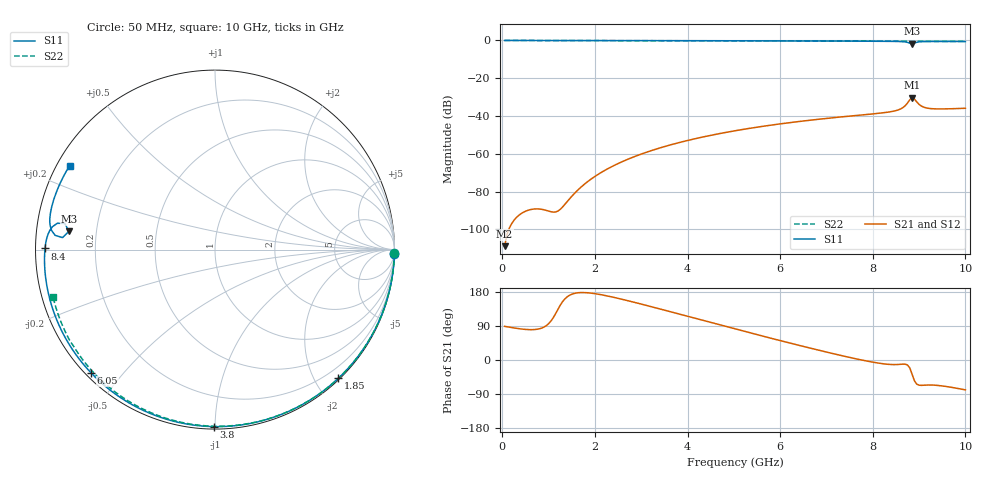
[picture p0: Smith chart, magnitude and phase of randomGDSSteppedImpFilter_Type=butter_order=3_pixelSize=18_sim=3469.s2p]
! freq	dB(S11)	phase(S11)	dB(S12)	phase(S12)
!  dB(S21)	phase(S21)	dB(S22)	phase(S22)
!S-par simulation data
#  GHz  S  DB  R 50
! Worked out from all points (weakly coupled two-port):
!   200 points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, 50 MHz to 10 GHz, reference 50 ohm
!   highest |S21| = -30.29 dB at 8.85 GHz (marker M1); lowest = -108.9 dB at 50 MHz (marker M2)
!   lowest |S11| = -1.7 dB at 8.85 GHz (marker M3), VSWR 10.09, Z = 4.97 + j3.1 ohm
!   |S11| at or under -10 dB: nowhere
!   |S22| runs from -0.5 to 0.0 dB; largest |S21 - S12| = 0
!   S11 on the Smith chart (normalised r, x): 50 MHz: 0, -89; 1.85 GHz: 0.02, -2.34; 3.8 GHz: 0.01, -0.99; 6.05 GHz: 0.02, -0.41; 8.4 GHz: 0.03, +0.00; 10 GHz: 0.04, +0.27
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0.05  -0.00 -1.3  -108.92 88.9  -108.92 88.9  -0.00 -0.9
0.8  -0.03 -20.3  -89.24 82.3  -89.24 82.3  -0.02 -15.2
1.6  -0.05 -40.1  -79.94 176.8  -79.94 176.8  -0.04 -30.2
1.75  -0.06 -43.8  -76.57 178.0  -76.57 178.0  -0.04 -33.0
1.85  -0.06 -46.2  -74.61 177.3  -74.61 177.3  -0.04 -34.8
2.15  -0.07 -53.3  -69.68 171.9  -69.68 171.9  -0.05 -40.3
2.5  -0.08 -61.5  -65.18 162.7  -65.18 162.7  -0.06 -46.6
3.4  -0.11 -81.7  -56.92 134.8  -56.92 134.8  -0.08 -62.4
3.8  -0.12 -90.3  -54.18 121.8  -54.18 121.8  -0.09 -69.2
5.05  -0.17 -115.8  -47.71 81.3  -47.71 81.3  -0.14 -89.7
6.05  -0.23 -135.2  -44.01 49.7  -44.01 49.7  -0.19 -105.3
6.7  -0.27 -147.4  -42.07 29.8  -42.07 29.8  -0.22 -115.1
7.55  -0.35 -163.5  -39.94 5.4  -39.94 5.4  -0.29 -127.7
8.35  -0.46 -179.3  -37.88 -11.6  -37.88 -11.6  -0.36 -139.4
8.4  -0.47 179.6  -37.68 -11.9  -37.68 -11.9  -0.36 -140.1
8.65  -0.66 173.4  -35.56 -10.9  -35.56 -10.9  -0.39 -143.8
8.8  -1.41 170.1  -31.37 -21.1  -31.37 -21.1  -0.41 -145.9
8.85  -1.73 172.8  -30.29 -37.6  -30.29 -37.6  -0.40 -146.6
8.95  -0.97 174.9  -32.56 -63.7  -32.56 -63.7  -0.40 -148.1
9.05  -0.65 171.7  -34.74 -66.9  -34.74 -66.9  -0.42 -149.6
9.15  -0.56 168.9  -35.69 -66.2  -35.69 -66.2  -0.43 -151.1
10  -0.58 150.1  -35.91 -78.9  -35.91 -78.9  -0.54 -163.7
